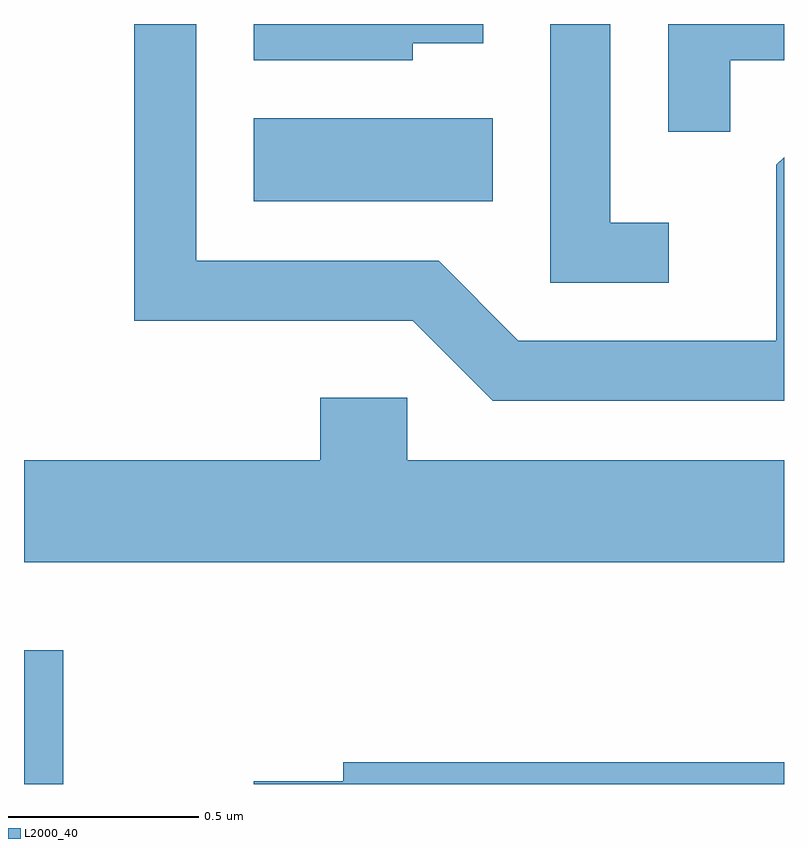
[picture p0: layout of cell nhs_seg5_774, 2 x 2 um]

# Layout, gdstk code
import gdstk
lib = gdstk.Library(unit=1e-6, precision=1e-09)
def R(c, l, rs):  # rectangles x0, y0, x1, y1
    for r in rs: c.add(gdstk.rectangle(r[:2], r[2:], *l))
def P(c, l, *ps):  # polygons
    for p in ps: c.add(gdstk.Polygon(p, *l))
L2000_40 = (2000, 40)

nhs_seg5_774 = lib.new_cell('nhs_seg5_774')
R(nhs_seg5_774, L2000_40, [(190.611,1485.072,190.714,1485.424), (191.216,1486.606,191.844,1486.824)])
P(nhs_seg5_774, L2000_40, [(192.611,1486.722),(192.591,1486.702),(192.591,1486.239),(191.912,1486.239),(191.702,1486.449),(191.064,1486.449),(191.064,1487.072),(190.901,1487.072),(190.901,1486.291),(191.634,1486.291),(191.844,1486.081),(192.611,1486.081)],
  [(192.308,1486.549),(192.154,1486.549),(192.154,1487.072),(191.996,1487.072),(191.996,1486.391),(192.308,1486.391)],
  [(191.634,1487.021),(191.819,1487.021),(191.819,1487.072),(191.216,1487.072),(191.216,1486.976),(191.634,1486.976)],
  [(192.469,1486.976),(192.611,1486.976),(192.611,1487.072),(192.306,1487.072),(192.306,1486.788),(192.469,1486.788)],
  [(192.611,1485.924),(191.619,1485.924),(191.619,1486.089),(191.391,1486.089),(191.391,1485.924),(190.611,1485.924),(190.611,1485.656),(192.611,1485.656)],
  [(192.611,1485.129),(191.451,1485.129),(191.451,1485.079),(191.216,1485.079),(191.216,1485.072),(192.611,1485.072)])

lib.write_gds('nhs_seg5_774.gds')
